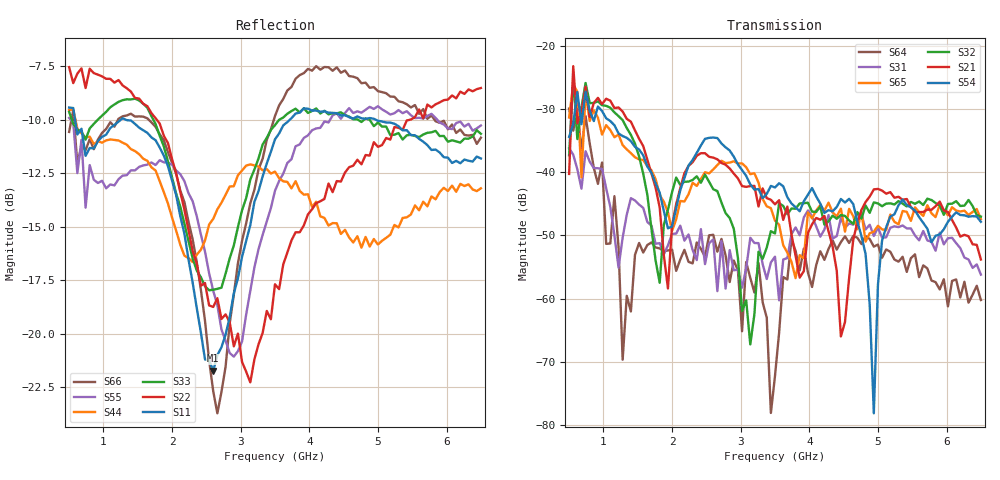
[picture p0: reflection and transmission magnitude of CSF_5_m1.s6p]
!Keysight Technologies,M9804A,MY58100912,A.14.10.03
!Date: Thursday, April 27, 2023 10:28:33
!Correction: S11(C  6-Port  )
!S12(C  6-Port  )
!S13(C  6-Port  )
!S14(C  6-Port  )
!S15(C  6-Port  )
!S16(C  6-Port  )
!S21(C  6-Port  )
!S22(C  6-Port  )
!S23(C  6-Port  )
!S24(C  6-Port  )
!S25(C  6-Port  )
!S26(C  6-Port  )
!S31(C  6-Port  )
!S32(C  6-Port  )
!S33(C  6-Port  )
!S34(C  6-Port  )
!S35(C  6-Port  )
!S36(C  6-Port  )
!S41(C  6-Port  )
!S42(C  6-Port  )
!S43(C  6-Port  )
!S44(C  6-Port  )
!S45(C  6-Port  )
!S46(C  6-Port  )
!S51(C  6-Port  )
!S52(C  6-Port  )
!S53(C  6-Port  )
!S54(C  6-Port  )
!S55(C  6-Port  )
!S56(C  6-Port  )
!S61(C  6-Port  )
!S62(C  6-Port  )
!S63(C  6-Port  )
!S64(C  6-Port  )
!S65(C  6-Port  )
!S66(C  6-Port  )
!S6P File: Measurement: :
# Hz S  RI  R 50
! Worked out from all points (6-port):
!   101 points, 500 MHz to 6.5 GHz, reference 50 ohm
!   strongest paths, dB at 500 MHz, 2 GHz, 3.5 GHz, 5 GHz, 6.5 GHz:
!     S54: -34.4, -48.6, -42.4, -57.8, -47.8
!     S21: -40.2, -48.4, -45.1, -42.6, -53.8
!     S32: -37.3, -43.1, -49.7, -44.9, -47.0
!     S65: -31.3, -49.3, -47.6, -48.5, -47.4
!     S31: -36.2, -49.7, -53.4, -48.8, -56.2
!     S64: -29.9, -52.2, -72.3, -51.4, -60.2
!   lowest |S11| = -21.7 dB at 2.6 GHz (marker M1), VSWR 1.18, Z = 42.7 + j1.97 ohm
!   |S11| at or under -10 dB: 586.1 MHz to 1.258 GHz (671.5 MHz wide, 72.8 % of centre); 1.321 GHz to 3.719 GHz (2.398 GHz wide, 95.2 % of centre); 4.963 GHz to end of sweep
